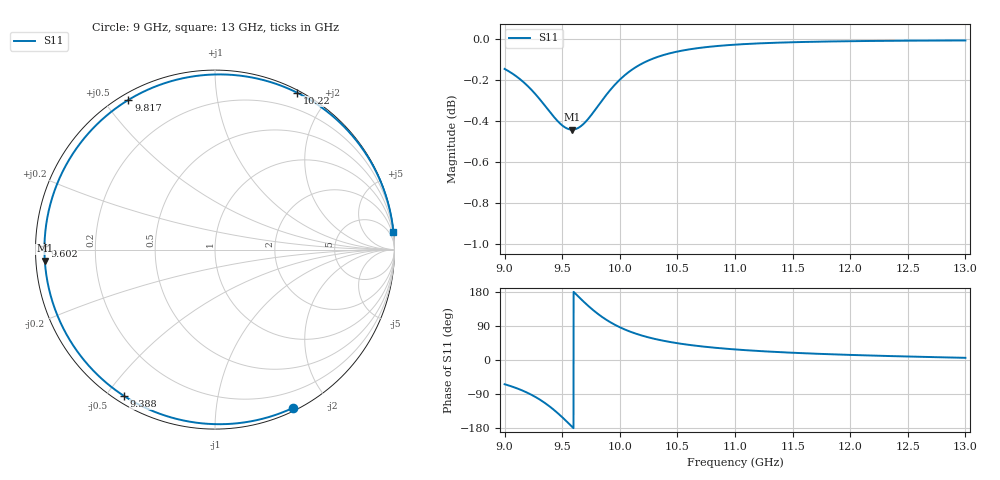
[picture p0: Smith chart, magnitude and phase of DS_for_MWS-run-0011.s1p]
! TOUCHSTONE file generated by CST DESIGN STUDIO
! Date and time: Tue Feb  4 13:57:00 2025
! Project name: C:\Work\MatlabApps\UnitCellOptimizationMatlab\CST\unitcell.cst
! Tree item: Tasks\Sweep1\SPara1\S-Parameters
! Header version: 2024
! Port assignment regex: !\s*Touchstone port\s*([0-9]+)\s*=\s*(CST MWS port|CST DES external port|CST DES block port)\s*(.+)\s* \(\"(.*)\"\)(\s*mode\s*([0-9]+))?.*
! Touchstone port assignment:
! Touchstone port 1 = CST DES external port 1 ("")
# GHz S MA R 50
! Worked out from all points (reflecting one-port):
!   4001 points, 9 GHz to 13 GHz, reference 50 ohm
!   lowest |S11| = -0.4 dB at 9.586 GHz (marker M1), VSWR 39.26, Z = 1.27 - j1.63 ohm
!   phase of S11 starts at -64 deg and turns -290 deg over the sweep
!   S11 on the Smith chart (normalised r, x): 9 GHz: 0.03, -1.60; 9.388 GHz: 0.03, -0.56; 9.602 GHz: 0.03, +0.01; 9.817 GHz: 0.02, +0.58; 10.22 GHz: 0.02, +1.65; 13 GHz: 0, +20
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9  0.9832 -63.9
9.049  0.9814 -68.5
9.118  0.9783 -76.0
9.237  0.9715 -92.5
9.317  0.9657 -106.7
9.388  0.9602 -121.9
9.444  0.956 -135.7
9.5  0.9526 -150.9
9.544  0.9509 -163.7
9.586  0.9503 -176.3
9.602  0.9504 178.9
9.647  0.9515 165.4
9.694  0.9539 151.7
9.756  0.9584 134.9
9.817  0.9635 120.1
9.858  0.967 111.1
9.901  0.9704 102.7
10  0.9773 86.4
10.104  0.9827 73.3
10.217  0.9869 62.3
10.347  0.9902 52.7
10.5  0.9928 44.3
10.72  0.995 35.6
11  0.9966 27.9
11.5  0.998 19.1
12  0.9986 13.4
12.5  0.9988 9.2
13  0.999 5.7
